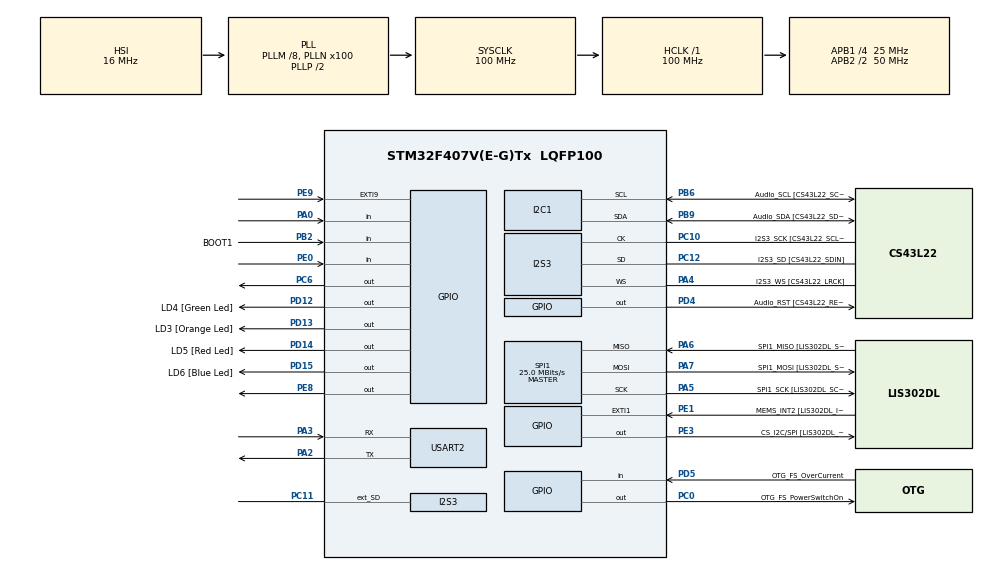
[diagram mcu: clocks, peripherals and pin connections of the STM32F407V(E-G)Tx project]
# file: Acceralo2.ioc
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I2S3.ErrorAudioFreq=0.15 %
I2S3.FullDuplexMode=I2S_FULLDUPLEXMODE_ENABLE
I2S3.Instance=SPI$Index
I2S3.RealAudioFreq=8.012 KHz
I2S3.VirtualMode=I2S_MODE_MASTER
Mcu.Family=STM32F4
Mcu.Name=STM32F407V(E-G)Tx
Mcu.Package=LQFP100
NVIC.EXTI9_5_IRQn=true\:0\:0\:false\:false\:true\:true
NVIC.PriorityGroup=NVIC_PRIORITYGROUP_0
NVIC.RCC_IRQn=true\:0\:0\:false\:false\:true\:true
PA0-WKUP.Signal=GPIO_Input
PA10.GPIO_Label=OTG_FS_ID
PA10.GPIO_Mode=GPIO_MODE_AF_PP
PA10.GPIO_PuPd=GPIO_NOPULL
PA10.GPIO_Speed=GPIO_SPEED_FREQ_LOW
PA10.Signal=USB_OTG_FS_ID
PA11.GPIO_Label=OTG_FS_DM
PA11.GPIO_Mode=GPIO_MODE_AF_PP
PA11.GPIO_PuPd=GPIO_NOPULL
PA11.GPIO_Speed=GPIO_SPEED_FREQ_LOW
PA11.Signal=USB_OTG_FS_DM
PA12.GPIO_Label=OTG_FS_DP
PA12.GPIO_Mode=GPIO_MODE_AF_PP
PA12.GPIO_PuPd=GPIO_NOPULL
PA12.GPIO_Speed=GPIO_SPEED_FREQ_LOW
PA12.Signal=USB_OTG_FS_DP
PA13.GPIO_Label=SWDIO
PA13.Signal=SYS_JTMS-SWDIO
PA14.GPIO_Label=SWCLK
PA14.Signal=SYS_JTCK-SWCLK
PA2.Mode=Asynchronous
PA2.Signal=USART2_TX
PA3.Mode=Asynchronous
PA3.Signal=USART2_RX
PA4.GPIO_Label=I2S3_WS [CS43L22_LRCK]
PA4.GPIO_Mode=GPIO_MODE_AF_PP
PA4.GPIO_PuPd=GPIO_NOPULL
PA4.GPIO_Speed=GPIO_SPEED_FREQ_LOW
PA4.Mode=Full_Duplex_Master
PA4.Signal=I2S3_WS
PA5.GPIO_Label=SPI1_SCK [LIS302DL_SCL/SPC]
PA5.GPIO_Mode=GPIO_MODE_AF_PP
PA5.GPIO_PuPd=GPIO_NOPULL
PA5.GPIO_Speed=GPIO_SPEED_FREQ_LOW
PA5.Mode=Full_Duplex_Master
PA5.Signal=SPI1_SCK
PA6.GPIO_Label=SPI1_MISO [LIS302DL_SDO]
PA6.GPIO_Mode=GPIO_MODE_AF_PP
PA6.GPIO_PuPd=GPIO_NOPULL
PA6.GPIO_Speed=GPIO_SPEED_FREQ_LOW
PA6.Mode=Full_Duplex_Master
PA6.Signal=SPI1_MISO
PA7.GPIO_Label=SPI1_MOSI [LIS302DL_SDA/SDI/SDO]
PA7.GPIO_Mode=GPIO_MODE_AF_PP
PA7.GPIO_PuPd=GPIO_NOPULL
PA7.GPIO_Speed=GPIO_SPEED_FREQ_LOW
PA7.Mode=Full_Duplex_Master
PA7.Signal=SPI1_MOSI
PA9.GPIO_Label=VBUS_FS
PA9.GPIO_Mode=GPIO_MODE_INPUT
PA9.GPIO_PuPd=GPIO_NOPULL
PA9.Signal=USB_OTG_FS_VBUS
PB10.GPIO_Label=CLK_IN [MP45DT02_CLK]
PB10.GPIO_Mode=GPIO_MODE_AF_PP
PB10.GPIO_PuPd=GPIO_NOPULL
PB10.GPIO_Speed=GPIO_SPEED_FREQ_LOW
PB10.Signal=I2S2_CK
PB2.GPIO_Label=BOOT1
PB2.GPIO_Mode=GPIO_MODE_INPUT
PB2.GPIO_PuPd=GPIO_NOPULL
PB2.Signal=GPIO_Input
PB3.GPIO_Label=SWO
PB3.Signal=SYS_JTDO-SWO
PB6.GPIO_Label=Audio_SCL [CS43L22_SCL]
PB6.GPIO_Mode=GPIO_MODE_AF_OD
PB6.GPIO_PuPd=GPIO_NOPULL
PB6.GPIO_Speed=GPIO_SPEED_FREQ_LOW
PB6.Mode=I2C
PB6.Signal=I2C1_SCL
PB9.GPIO_Label=Audio_SDA [CS43L22_SDA]
PB9.GPIO_Mode=GPIO_MODE_AF_OD
PB9.GPIO_PuPd=GPIO_NOPULL
PB9.GPIO_Speed=GPIO_SPEED_FREQ_LOW
PB9.Mode=I2C
PB9.Signal=I2C1_SDA
PC0.GPIO_Label=OTG_FS_PowerSwitchOn
PC0.GPIO_PuPd=GPIO_NOPULL
PC0.GPIO_Speed=GPIO_SPEED_FREQ_LOW
PC0.PinState=GPIO_PIN_SET
PC0.Signal=GPIO_Output
PC10.GPIO_Label=I2S3_SCK [CS43L22_SCLK]
PC10.GPIO_Mode=GPIO_MODE_AF_PP
PC10.GPIO_PuPd=GPIO_NOPULL
PC10.GPIO_Speed=GPIO_SPEED_FREQ_LOW
PC10.Mode=Full_Duplex_Master
PC10.Signal=I2S3_CK
PC11.Mode=Full_Duplex_Master
PC11.Signal=I2S3_ext_SD
PC12.GPIO_Label=I2S3_SD [CS43L22_SDIN]
PC12.GPIO_Mode=GPIO_MODE_AF_PP
PC12.GPIO_PuPd=GPIO_NOPULL
PC12.GPIO_Speed=GPIO_SPEED_FREQ_LOW
PC12.Mode=Full_Duplex_Master
PC12.Signal=I2S3_SD
PC14-OSC32_IN.GPIO_Label=PC14-OSC32_IN
PC14-OSC32_IN.Signal=RCC_OSC32_IN
PC15-OSC32_OUT.GPIO_Label=PC15-OSC32_OUT
PC15-OSC32_OUT.Signal=RCC_OSC32_OUT
PC3.GPIO_Label=PDM_OUT [MP45DT02_DOUT]
PC3.GPIO_Mode=GPIO_MODE_AF_PP
PC3.GPIO_PuPd=GPIO_NOPULL
PC3.GPIO_Speed=GPIO_SPEED_FREQ_LOW
PC3.Signal=I2S2_SD
PC6.Signal=GPIO_Output
PC7.GPIO_Label=I2S3_MCK [CS43L22_MCLK]
PC7.GPIO_Mode=GPIO_MODE_AF_PP
PC7.GPIO_PuPd=GPIO_NOPULL
PC7.GPIO_Speed=GPIO_SPEED_FREQ_LOW
PC7.Signal=I2S3_MCK
PD12.GPIO_Label=LD4 [Green Led]
PD12.GPIO_PuPd=GPIO_NOPULL
PD12.GPIO_Speed=GPIO_SPEED_FREQ_LOW
PD12.Signal=GPIO_Output
PD13.GPIO_Label=LD3 [Orange Led]
PD13.GPIO_PuPd=GPIO_NOPULL
PD13.GPIO_Speed=GPIO_SPEED_FREQ_LOW
PD13.Signal=GPIO_Output
PD14.GPIO_Label=LD5 [Red Led]
PD14.GPIO_PuPd=GPIO_NOPULL
PD14.GPIO_Speed=GPIO_SPEED_FREQ_LOW
PD14.Signal=GPIO_Output
PD15.GPIO_Label=LD6 [Blue Led]
PD15.GPIO_PuPd=GPIO_NOPULL
PD15.GPIO_Speed=GPIO_SPEED_FREQ_LOW
PD15.Signal=GPIO_Output
PD4.GPIO_Label=Audio_RST [CS43L22_RESET]
PD4.GPIO_PuPd=GPIO_NOPULL
PD4.GPIO_Speed=GPIO_SPEED_FREQ_LOW
PD4.Signal=GPIO_Output
PD5.GPIO_Label=OTG_FS_OverCurrent
PD5.GPIO_Mode=GPIO_MODE_INPUT
PD5.GPIO_PuPd=GPIO_NOPULL
PD5.Signal=GPIO_Input
PE0.Signal=GPIO_Input
PE1.GPIO_Label=MEMS_INT2 [LIS302DL_INT2]
PE1.GPIO_ModeDefaultEXTI=GPIO_MODE_EVT_RISING
PE1.GPIO_PuPd=GPIO_NOPULL
PE1.Signal=GPXTI1
PE3.GPIO_Label=CS_I2C/SPI [LIS302DL_CS_I2C/SPI]
PE3.GPIO_PuPd=GPIO_NOPULL
PE3.GPIO_Speed=GPIO_SPEED_FREQ_LOW
PE3.Signal=GPIO_Output
PE8.Signal=GPIO_Output
PE9.Signal=GPXTI9
PH0-OSC_IN.GPIO_Label=PH0-OSC_IN
PH0-OSC_IN.Signal=RCC_OSC_IN
PH1-OSC_OUT.GPIO_Label=PH1-OSC_OUT
PH1-OSC_OUT.Signal=RCC_OSC_OUT
ProjectManager.HeapSize=0x200
ProjectManager.StackSize=0x400
ProjectManager.TargetToolchain=SW4STM32
RCC.48MHZClocksFreq_Value=28571428.57142857
RCC.AHBFreq_Value=100000000
RCC.APB1CLKDivider=RCC_HCLK_DIV4
RCC.APB1Freq_Value=25000000
RCC.APB1TimFreq_Value=50000000
RCC.APB2CLKDivider=RCC_HCLK_DIV2
RCC.APB2Freq_Value=50000000
RCC.APB2TimFreq_Value=100000000
RCC.CortexFreq_Value=100000000
RCC.HCLKFreq_Value=100000000
RCC.HSE_VALUE=8000000
RCC.HSI_VALUE=16000000
RCC.LSE_VALUE=32768
RCC.PLLI2SN=50
RCC.PLLM=8
RCC.PLLN=100
RCC.PLLQ=7
RCC.SYSCLKFreq_VALUE=100000000
RCC.SYSCLKSource=RCC_SYSCLKSOURCE_PLLCLK
RCC.VCOOutputFreq_Value=200000000
SPI1.CalculateBaudRate=25.0 MBits/s
SPI1.Direction=SPI_DIRECTION_2LINES
SPI1.Mode=SPI_MODE_MASTER
SPI1.VirtualType=VM_MASTER
USART2.VirtualMode=VM_ASYNC
board=STM32F4DISCOVERY

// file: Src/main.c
/**
  ******************************************************************************
  * File Name          : main.c
  * Description        : Main program body
  ******************************************************************************
  ** This notice applies to any and all portions of this file
  * that are not between comment pairs USER CODE BEGIN and
  * USER CODE END. Other portions of this file, whether
  * inserted by the user or by software development tools
  * are owned by their respective copyright owners.
  *
  * COPYRIGHT(c) 2017 STMicroelectronics
  *
  * Redistribution and use in source and binary forms, with or without modification,
  * are permitted provided that the following conditions are met:
  *   1. Redistributions of source code must retain the above copyright notice,
  *      this list of conditions and the following disclaimer.
  *   2. Redistributions in binary form must reproduce the above copyright notice,
  *      this list of conditions and the following disclaimer in the documentation
  *      and/or other materials provided with the distribution.
  *   3. Neither the name of STMicroelectronics nor the names of its contributors
  *      may be used to endorse or promote products derived from this software
  *      without specific prior written permission.
  *
  * THIS SOFTWARE IS PROVIDED BY THE COPYRIGHT HOLDERS AND CONTRIBUTORS "AS IS"
  * AND ANY EXPRESS OR IMPLIED WARRANTIES, INCLUDING, BUT NOT LIMITED TO, THE
  * IMPLIED WARRANTIES OF MERCHANTABILITY AND FITNESS FOR A PARTICULAR PURPOSE ARE
  * DISCLAIMED. IN NO EVENT SHALL THE COPYRIGHT HOLDER OR CONTRIBUTORS BE LIABLE
  * FOR ANY DIRECT, INDIRECT, INCIDENTAL, SPECIAL, EXEMPLARY, OR CONSEQUENTIAL
  * DAMAGES (INCLUDING, BUT NOT LIMITED TO, PROCUREMENT OF SUBSTITUTE GOODS OR
  * SERVICES; LOSS OF USE, DATA, OR PROFITS; OR BUSINESS INTERRUPTION) HOWEVER
  * CAUSED AND ON ANY THEORY OF LIABILITY, WHETHER IN CONTRACT, STRICT LIABILITY,
  * OR TORT (INCLUDING NEGLIGENCE OR OTHERWISE) ARISING IN ANY WAY OUT OF THE USE
  * OF THIS SOFTWARE, EVEN IF ADVISED OF THE POSSIBILITY OF SUCH DAMAGE.
  *
  ******************************************************************************
  */

#include "main.h"
#include "stm32f4xx_hal.h"

/* USER CODE BEGIN Includes */
#define MAGNITUDE_THRESHLOD 300
#define DECAY_PERIOD 		100
#define TRIGGER_THRESHOLD 	400
#define DECAY 				detection_index -= 1
#define QUAKE				detection_index += 45
/* USER CODE END Includes */

I2C_HandleTypeDef hi2c1;

I2S_HandleTypeDef hi2s3;

SPI_HandleTypeDef hspi1;

UART_HandleTypeDef huart2;

/* USER CODE BEGIN PV */
/* Private variables ---------------------------------------------------------*/
int8_t 		start = 0;
int16_t 	userBtnStability = 0;
int16_t 	xyz[3]={0};
int8_t 		state=0;
int 		detection_index=0;
int8_t 		alert_signal=0;
int 		Timecounter=0;
int 		delayTime=0;
int16_t 	buffer_x[100];
int16_t 	buffer_y[100];
int16_t 	buffer_index=0;
struct _calibrate{
	int16_t x,y,z;
} calibrate;

/* USER CODE END PV */

void SystemClock_Config(void);
static void MX_GPIO_Init(void);
static void MX_SPI1_Init(void);
static void MX_I2C1_Init(void);
static void MX_I2S3_Init(void);
static void MX_USART2_UART_Init(void);

/* USER CODE BEGIN PFP */
/* Private function prototypes -----------------------------------------------*/

/* USER CODE END PFP */

/* USER CODE BEGIN 0 */
void HAL_GPIO_EXTI_Callback(uint16_t GPIO_Pin)
{
	alert_signal=0;
	detection_index=0;
}
int16_t cal_avg(int16_t* buf){
	int sum=0;
	for(int i = 0 ;i < 100 ;i++){
		sum += buf[i];
	}
	return sum/100;
}

/* USER CODE END 0 */

int main(void)
{

  /* MCU Configuration----------------------------------------------------------*/

  /* Reset of all peripherals, Initializes the Flash interface and the Systick. */
  HAL_Init();

  /* Configure the system clock */
  SystemClock_Config();

  /* Initialize all configured peripherals */
  MX_GPIO_Init();
  MX_SPI1_Init();
  MX_I2C1_Init();
  MX_I2S3_Init();
  MX_USART2_UART_Init();

  /* USER CODE BEGIN 2 */
  BSP_ACCELERO_Init();
  calibrate.x = 0;
  calibrate.y = 0;
  calibrate.z = 0;
  /* USER CODE END 2 */

  /* Infinite loop */
  while (1)
  {

  /* USER CODE BEGIN 3 */
	  BSP_ACCELERO_GetXYZ(xyz);
	  if(HAL_GPIO_ReadPin(GPIOA,GPIO_PIN_0)==1)
	  	userBtnStability += 1;
	  else
		userBtnStability = 0;
	  if(userBtnStability==10){
		start ^= 1;
		alert_signal = 0;
		calibrate.x = xyz[0];
		calibrate.y = xyz[1];
	  	calibrate.z = xyz[2];
	  }
	  if(start==0){continue;}

	  xyz[0] -= calibrate.x;
	  xyz[1] -= calibrate.y;
	  xyz[2] -= calibrate.z;
	  if(delayTime%200 == 0){
		buffer_x[buffer_index]=xyz[0];
		buffer_y[buffer_index]=xyz[1];
		buffer_index++;
	  }
  	  if(buffer_index == 99){
	  	buffer_index=0;
		int send_x=cal_avg(buffer_x);
		int send_y=cal_avg(buffer_y);
		char s[256];
		sprintf(s,"%d/%d/%d/%d/%d/%d\r\n",xyz[0],xyz[1],xyz[2],send_x,send_y,alert_signal);
		HAL_UART_Transmit(&huart2,s,strlen(s),5000);
	  }
	  if(abs(xyz[0])>abs(xyz[1])){
	  	if(xyz[0]<=-MAGNITUDE_THRESHLOD){
	  		HAL_GPIO_WritePin(GPIOD, GPIO_PIN_12,1);
	  		HAL_GPIO_WritePin(GPIOD, GPIO_PIN_14,0);
	  		HAL_GPIO_WritePin(GPIOD, GPIO_PIN_13,0);
	  		HAL_GPIO_WritePin(GPIOD, GPIO_PIN_15,0);
	  		if(state==0 || state ==2){
	  			QUAKE;
	  		}
	  		state=1;
	  	}
	  	else if(xyz[0]>MAGNITUDE_THRESHLOD){
	  		HAL_GPIO_WritePin(GPIOD, GPIO_PIN_12,0);
	  		HAL_GPIO_WritePin(GPIOD, GPIO_PIN_14,1);
	  		HAL_GPIO_WritePin(GPIOD, GPIO_PIN_13,0);
	  		HAL_GPIO_WritePin(GPIOD, GPIO_PIN_15,0);
	  		if(state==0 || state==1){
	  			QUAKE;
	  		}
	  		state=2;
	  	}
	  	else{
	  		HAL_GPIO_WritePin(GPIOD, GPIO_PIN_12,0);
	  		HAL_GPIO_WritePin(GPIOD, GPIO_PIN_14,0);
	  		HAL_GPIO_WritePin(GPIOD, GPIO_PIN_13,0);
	  		HAL_GPIO_WritePin(GPIOD, GPIO_PIN_15,0);
	  	}
	  }
	  else{
		if(xyz[1]>MAGNITUDE_THRESHLOD){
			HAL_GPIO_WritePin(GPIOD, GPIO_PIN_13,1);
			HAL_GPIO_WritePin(GPIOD, GPIO_PIN_15,0);
			HAL_GPIO_WritePin(GPIOD, GPIO_PIN_12,0);
			HAL_GPIO_WritePin(GPIOD, GPIO_PIN_14,0);
	  		if(state==0||state==4){
	  			QUAKE;
	  		}
	  		state=3;
	  	}
	  	else if(xyz[1]<=-MAGNITUDE_THRESHLOD){
	  		HAL_GPIO_WritePin(GPIOD, GPIO_PIN_15,1);
	  		HAL_GPIO_WritePin(GPIOD, GPIO_PIN_12,0);
	  		HAL_GPIO_WritePin(GPIOD, GPIO_PIN_14,0);
	  		HAL_GPIO_WritePin(GPIOD, GPIO_PIN_13,0);
	  		if(state==0||state==3){
	  			QUAKE;
	  		}
	  		state=4;
	  	}
	  	else{
	  		HAL_GPIO_WritePin(GPIOD, GPIO_PIN_12,0);
	  		HAL_GPIO_WritePin(GPIOD, GPIO_PIN_14,0);
	  		HAL_GPIO_WritePin(GPIOD, GPIO_PIN_13,0);
	  		HAL_GPIO_WritePin(GPIOD, GPIO_PIN_15,0);
	  	}
	 }
	 if(Timecounter % DECAY_PERIOD == 0){
	  	 DECAY;
	 }
	 if(detection_index>TRIGGER_THRESHOLD){
		 alert_signal=1;
	  	 detection_index=TRIGGER_THRESHOLD;
	  }
	  if(detection_index<=0){
		 detection_index=0;
	  }
	  if(Timecounter==1000){
		  Timecounter=0;
	  }
	  if(alert_signal && (Timecounter&2047)==0){
		  HAL_GPIO_TogglePin(GPIOE,GPIO_PIN_8);
	  }
	  else{
		  HAL_GPIO_WritePin(GPIOE,GPIO_PIN_8,0);
	  }
	  Timecounter++;
	  delayTime++;
	  if(delayTime==10000){
		  delayTime=0;
	  }
  }
  /* USER CODE END 3 */

}

/** System Clock Configuration
*/
void SystemClock_Config(void)
{

  RCC_OscInitTypeDef RCC_OscInitStruct;
  RCC_ClkInitTypeDef RCC_ClkInitStruct;
  RCC_PeriphCLKInitTypeDef PeriphClkInitStruct;

    /**Configure the main internal regulator output voltage
    */
  __HAL_RCC_PWR_CLK_ENABLE();

  __HAL_PWR_VOLTAGESCALING_CONFIG(PWR_REGULATOR_VOLTAGE_SCALE1);

    /**Initializes the CPU, AHB and APB busses clocks
    */
  RCC_OscInitStruct.OscillatorType = RCC_OSCILLATORTYPE_HSI;
  RCC_OscInitStruct.HSIState = RCC_HSI_ON;
  RCC_OscInitStruct.HSICalibrationValue = 16;
  RCC_OscInitStruct.PLL.PLLState = RCC_PLL_ON;
  RCC_OscInitStruct.PLL.PLLSource = RCC_PLLSOURCE_HSI;
  RCC_OscInitStruct.PLL.PLLM = 8;
  RCC_OscInitStruct.PLL.PLLN = 100;
  RCC_OscInitStruct.PLL.PLLP = RCC_PLLP_DIV2;
  RCC_OscInitStruct.PLL.PLLQ = 7;
  if (HAL_RCC_OscConfig(&RCC_OscInitStruct) != HAL_OK)
  {
    _Error_Handler(__FILE__, __LINE__);
  }

    /**Initializes the CPU, AHB and APB busses clocks
    */
  RCC_ClkInitStruct.ClockType = RCC_CLOCKTYPE_HCLK|RCC_CLOCKTYPE_SYSCLK
                              |RCC_CLOCKTYPE_PCLK1|RCC_CLOCKTYPE_PCLK2;
  RCC_ClkInitStruct.SYSCLKSource = RCC_SYSCLKSOURCE_PLLCLK;
  RCC_ClkInitStruct.AHBCLKDivider = RCC_SYSCLK_DIV1;
  RCC_ClkInitStruct.APB1CLKDivider = RCC_HCLK_DIV4;
  RCC_ClkInitStruct.APB2CLKDivider = RCC_HCLK_DIV2;

  if (HAL_RCC_ClockConfig(&RCC_ClkInitStruct, FLASH_LATENCY_3) != HAL_OK)
  {
    _Error_Handler(__FILE__, __LINE__);
  }

  PeriphClkInitStruct.PeriphClockSelection = RCC_PERIPHCLK_I2S;
  PeriphClkInitStruct.PLLI2S.PLLI2SN = 50;
  PeriphClkInitStruct.PLLI2S.PLLI2SR = 2;
  if (HAL_RCCEx_PeriphCLKConfig(&PeriphClkInitStruct) != HAL_OK)
  {
    _Error_Handler(__FILE__, __LINE__);
  }

    /**Configure the Systick interrupt time
    */
  HAL_SYSTICK_Config(HAL_RCC_GetHCLKFreq()/1000);

    /**Configure the Systick
    */
  HAL_SYSTICK_CLKSourceConfig(SYSTICK_CLKSOURCE_HCLK);

  /* SysTick_IRQn interrupt configuration */
  HAL_NVIC_SetPriority(SysTick_IRQn, 0, 0);
}

/* I2C1 init function */
static void MX_I2C1_Init(void)
{

  hi2c1.Instance = I2C1;
  hi2c1.Init.ClockSpeed = 100000;
  hi2c1.Init.DutyCycle = I2C_DUTYCYCLE_2;
  hi2c1.Init.OwnAddress1 = 0;
  hi2c1.Init.AddressingMode = I2C_ADDRESSINGMODE_7BIT;
  hi2c1.Init.DualAddressMode = I2C_DUALADDRESS_DISABLE;
  hi2c1.Init.OwnAddress2 = 0;
  hi2c1.Init.GeneralCallMode = I2C_GENERALCALL_DISABLE;
  hi2c1.Init.NoStretchMode = I2C_NOSTRETCH_DISABLE;
  if (HAL_I2C_Init(&hi2c1) != HAL_OK)
  {
    _Error_Handler(__FILE__, __LINE__);
  }

}

/* I2S3 init function */
static void MX_I2S3_Init(void)
{

  hi2s3.Instance = SPI3;
  hi2s3.Init.Mode = I2S_MODE_MASTER_TX;
  hi2s3.Init.Standard = I2S_STANDARD_PHILIPS;
  hi2s3.Init.DataFormat = I2S_DATAFORMAT_16B;
  hi2s3.Init.MCLKOutput = I2S_MCLKOUTPUT_DISABLE;
  hi2s3.Init.AudioFreq = I2S_AUDIOFREQ_8K;
  hi2s3.Init.CPOL = I2S_CPOL_LOW;
  hi2s3.Init.ClockSource = I2S_CLOCK_PLL;
  hi2s3.Init.FullDuplexMode = I2S_FULLDUPLEXMODE_ENABLE;
  if (HAL_I2S_Init(&hi2s3) != HAL_OK)
  {
    _Error_Handler(__FILE__, __LINE__);
  }

}

/* SPI1 init function */
static void MX_SPI1_Init(void)
{

  /* SPI1 parameter configuration*/
  hspi1.Instance = SPI1;
  hspi1.Init.Mode = SPI_MODE_MASTER;
  hspi1.Init.Direction = SPI_DIRECTION_2LINES;
  hspi1.Init.DataSize = SPI_DATASIZE_8BIT;
  hspi1.Init.CLKPolarity = SPI_POLARITY_LOW;
  hspi1.Init.CLKPhase = SPI_PHASE_1EDGE;
  hspi1.Init.NSS = SPI_NSS_SOFT;
  hspi1.Init.BaudRatePrescaler = SPI_BAUDRATEPRESCALER_2;
  hspi1.Init.FirstBit = SPI_FIRSTBIT_MSB;
  hspi1.Init.TIMode = SPI_TIMODE_DISABLE;
  hspi1.Init.CRCCalculation = SPI_CRCCALCULATION_DISABLE;
  hspi1.Init.CRCPolynomial = 10;
  if (HAL_SPI_Init(&hspi1) != HAL_OK)
  {
    _Error_Handler(__FILE__, __LINE__);
  }

}

/* USART2 init function */
static void MX_USART2_UART_Init(void)
{

  huart2.Instance = USART2;
  huart2.Init.BaudRate = 115200;
  huart2.Init.WordLength = UART_WORDLENGTH_8B;
  huart2.Init.StopBits = UART_STOPBITS_1;
  huart2.Init.Parity = UART_PARITY_NONE;
  huart2.Init.Mode = UART_MODE_TX_RX;
  huart2.Init.HwFlowCtl = UART_HWCONTROL_NONE;
  huart2.Init.OverSampling = UART_OVERSAMPLING_16;
  if (HAL_UART_Init(&huart2) != HAL_OK)
  {
    _Error_Handler(__FILE__, __LINE__);
  }

}

/** Configure pins as
        * Analog
        * Input
        * Output
        * EVENT_OUT
        * EXTI
     PC3   ------> I2S2_SD
     PB10   ------> I2S2_CK
     PA9   ------> USB_OTG_FS_VBUS
     PA10   ------> USB_OTG_FS_ID
     PA11   ------> USB_OTG_FS_DM
     PA12   ------> USB_OTG_FS_DP
*/
static void MX_GPIO_Init(void)
{

  GPIO_InitTypeDef GPIO_InitStruct;

  /* GPIO Ports Clock Enable */
  __HAL_RCC_GPIOE_CLK_ENABLE();
  __HAL_RCC_GPIOC_CLK_ENABLE();
  __HAL_RCC_GPIOH_CLK_ENABLE();
  __HAL_RCC_GPIOA_CLK_ENABLE();
  __HAL_RCC_GPIOB_CLK_ENABLE();
  __HAL_RCC_GPIOD_CLK_ENABLE();

  /*Configure GPIO pin Output Level */
  HAL_GPIO_WritePin(GPIOE, CS_I2C_SPI_Pin|GPIO_PIN_8, GPIO_PIN_RESET);

  /*Configure GPIO pin Output Level */
  HAL_GPIO_WritePin(OTG_FS_PowerSwitchOn_GPIO_Port, OTG_FS_PowerSwitchOn_Pin, GPIO_PIN_SET);

  /*Configure GPIO pin Output Level */
  HAL_GPIO_WritePin(GPIOD, LD4_Pin|LD3_Pin|LD5_Pin|LD6_Pin
                          |Audio_RST_Pin, GPIO_PIN_RESET);

  /*Configure GPIO pin Output Level */
  HAL_GPIO_WritePin(GPIOC, GPIO_PIN_6, GPIO_PIN_RESET);

  /*Configure GPIO pins : CS_I2C_SPI_Pin PE8 */
  GPIO_InitStruct.Pin = CS_I2C_SPI_Pin|GPIO_PIN_8;
  GPIO_InitStruct.Mode = GPIO_MODE_OUTPUT_PP;
  GPIO_InitStruct.Pull = GPIO_NOPULL;
  GPIO_InitStruct.Speed = GPIO_SPEED_FREQ_LOW;
  HAL_GPIO_Init(GPIOE, &GPIO_InitStruct);

  /*Configure GPIO pins : OTG_FS_PowerSwitchOn_Pin PC6 */
  GPIO_InitStruct.Pin = OTG_FS_PowerSwitchOn_Pin|GPIO_PIN_6;
  GPIO_InitStruct.Mode = GPIO_MODE_OUTPUT_PP;
  GPIO_InitStruct.Pull = GPIO_NOPULL;
  GPIO_InitStruct.Speed = GPIO_SPEED_FREQ_LOW;
  HAL_GPIO_Init(GPIOC, &GPIO_InitStruct);

  /*Configure GPIO pin : PDM_OUT_Pin */
  GPIO_InitStruct.Pin = PDM_OUT_Pin;
  GPIO_InitStruct.Mode = GPIO_MODE_AF_PP;
  GPIO_InitStruct.Pull = GPIO_NOPULL;
  GPIO_InitStruct.Speed = GPIO_SPEED_FREQ_LOW;
  GPIO_InitStruct.Alternate = GPIO_AF5_SPI2;
  HAL_GPIO_Init(PDM_OUT_GPIO_Port, &GPIO_InitStruct);

  /*Configure GPIO pin : PA0 */
  GPIO_InitStruct.Pin = GPIO_PIN_0;
  GPIO_InitStruct.Mode = GPIO_MODE_INPUT;
  GPIO_InitStruct.Pull = GPIO_NOPULL;
  HAL_GPIO_Init(GPIOA, &GPIO_InitStruct);

  /*Configure GPIO pin : BOOT1_Pin */
  GPIO_InitStruct.Pin = BOOT1_Pin;
  GPIO_InitStruct.Mode = GPIO_MODE_INPUT;
  GPIO_InitStruct.Pull = GPIO_NOPULL;
  HAL_GPIO_Init(BOOT1_GPIO_Port, &GPIO_InitStruct);

  /*Configure GPIO pin : PE9 */
  GPIO_InitStruct.Pin = GPIO_PIN_9;
  GPIO_InitStruct.Mode = GPIO_MODE_IT_RISING;
  GPIO_InitStruct.Pull = GPIO_NOPULL;
  HAL_GPIO_Init(GPIOE, &GPIO_InitStruct);

  /*Configure GPIO pin : CLK_IN_Pin */
  GPIO_InitStruct.Pin = CLK_IN_Pin;
  GPIO_InitStruct.Mode = GPIO_MODE_AF_PP;
  GPIO_InitStruct.Pull = GPIO_NOPULL;
  GPIO_InitStruct.Speed = GPIO_SPEED_FREQ_LOW;
  GPIO_InitStruct.Alternate = GPIO_AF5_SPI2;
  HAL_GPIO_Init(CLK_IN_GPIO_Port, &GPIO_InitStruct);

  /*Configure GPIO pins : LD4_Pin LD3_Pin LD5_Pin LD6_Pin
                           Audio_RST_Pin */
  GPIO_InitStruct.Pin = LD4_Pin|LD3_Pin|LD5_Pin|LD6_Pin
                          |Audio_RST_Pin;
  GPIO_InitStruct.Mode = GPIO_MODE_OUTPUT_PP;
  GPIO_InitStruct.Pull = GPIO_NOPULL;
  GPIO_InitStruct.Speed = GPIO_SPEED_FREQ_LOW;
  HAL_GPIO_Init(GPIOD, &GPIO_InitStruct);

  /*Configure GPIO pin : VBUS_FS_Pin */
  GPIO_InitStruct.Pin = VBUS_FS_Pin;
  GPIO_InitStruct.Mode = GPIO_MODE_INPUT;
  GPIO_InitStruct.Pull = GPIO_NOPULL;
  HAL_GPIO_Init(VBUS_FS_GPIO_Port, &GPIO_InitStruct);

  /*Configure GPIO pins : OTG_FS_ID_Pin OTG_FS_DM_Pin OTG_FS_DP_Pin */
  GPIO_InitStruct.Pin = OTG_FS_ID_Pin|OTG_FS_DM_Pin|OTG_FS_DP_Pin;
  GPIO_InitStruct.Mode = GPIO_MODE_AF_PP;
  GPIO_InitStruct.Pull = GPIO_NOPULL;
  GPIO_InitStruct.Speed = GPIO_SPEED_FREQ_LOW;
  GPIO_InitStruct.Alternate = GPIO_AF10_OTG_FS;
  HAL_GPIO_Init(GPIOA, &GPIO_InitStruct);

  /*Configure GPIO pin : OTG_FS_OverCurrent_Pin */
  GPIO_InitStruct.Pin = OTG_FS_OverCurrent_Pin;
  GPIO_InitStruct.Mode = GPIO_MODE_INPUT;
  GPIO_InitStruct.Pull = GPIO_NOPULL;
  HAL_GPIO_Init(OTG_FS_OverCurrent_GPIO_Port, &GPIO_InitStruct);

  /*Configure GPIO pin : PE0 */
  GPIO_InitStruct.Pin = GPIO_PIN_0;
  GPIO_InitStruct.Mode = GPIO_MODE_INPUT;
  GPIO_InitStruct.Pull = GPIO_NOPULL;
  HAL_GPIO_Init(GPIOE, &GPIO_InitStruct);

  /*Configure GPIO pin : MEMS_INT2_Pin */
  GPIO_InitStruct.Pin = MEMS_INT2_Pin;
  GPIO_InitStruct.Mode = GPIO_MODE_EVT_RISING;
  GPIO_InitStruct.Pull = GPIO_NOPULL;
  HAL_GPIO_Init(MEMS_INT2_GPIO_Port, &GPIO_InitStruct);

  /* EXTI interrupt init*/
  HAL_NVIC_SetPriority(EXTI9_5_IRQn, 0, 0);
  HAL_NVIC_EnableIRQ(EXTI9_5_IRQn);

}

void _Error_Handler(char * file, int line)
{
  while(1)
  {
  }
}

/************************ (C) COPYRIGHT STMicroelectronics *****END OF FILE****/
